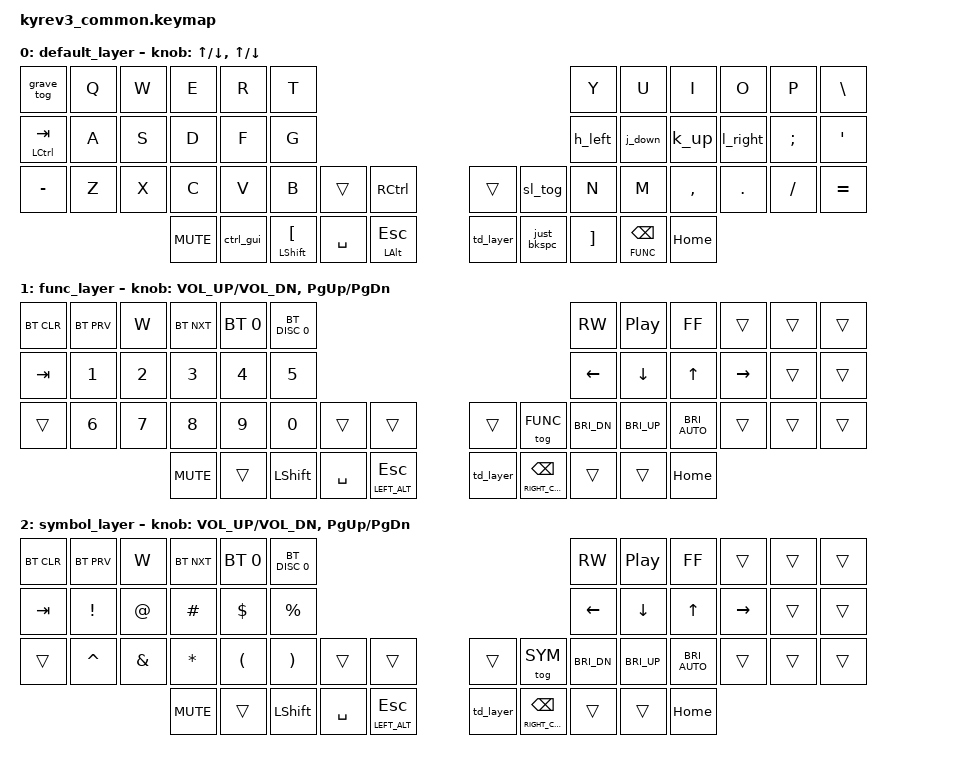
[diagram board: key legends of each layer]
#include <behaviors.dtsi>
#include <dt-bindings/zmk/bt.h>
#include <dt-bindings/zmk/keys.h>

#define DEFAULT 0
#define FUNC  1
#define SYM  2

/ {
    combos {
        compatible = "zmk,combos";
        combo_esc {
            timeout-ms = <50>;
            key-positions = <1 2>;
            bindings = <&kp ESC>;
        };
    };
   behaviors {
        clear_tog: clear_toggle {
            compatible = "zmk,behavior-mod-morph";
            #binding-cells = <0>;
            bindings = <&bt BT_CLR>, <&tog FUNC>;
            mods = <(MOD_LSFT|MOD_RSFT)>;
        };
        just_bkspc: just_bkspc {
            compatible = "zmk,behavior-mod-morph";
            #binding-cells = <0>;
            bindings = <&mt RIGHT_CONTROL BACKSPACE>, <&kp BACKSPACE>;
            mods = <(MOD_LSFT)>;
            };
        grave_tog: grave_toggle {
            compatible = "zmk,behavior-mod-morph";
            #binding-cells = <0>;
            bindings = <&kp GRAVE>, <&tog FUNC>;
            mods = <(MOD_LSFT|MOD_RSFT)>;
            };
        sl_tog: sticky_layer_toggle {
            compatible = "zmk,behavior-mod-morph";
            #binding-cells = <0>;
            bindings = <&sl FUNC>, <&tog FUNC>;
            mods = <(MOD_LSFT|MOD_RSFT)>;
            };
        hspc: holdable_backspace {
            compatible = "zmk,behavior-mod-morph";
            #binding-cells = <0>;
            bindings = <&mt RIGHT_CONTROL BACKSPACE>, <&kp BACKSPACE>;
            mods = <(MOD_LSFT|MOD_RSFT)>;
            };
        h_left: h_left_hold {
            compatible = "zmk,behavior-mod-morph";
            #binding-cells = <0>;
            bindings = <&kp H>, <&kp LEFT>;
            mods = <MOD_LCTL>;
            };
        j_down: j_down_hold {
            compatible = "zmk,behavior-mod-morph";
            #binding-cells = <0>;
            bindings = <&kp J>, <&kp DOWN>;
            mods = <MOD_LCTL>;
            };
        k_up: k_up_hold {
            compatible = "zmk,behavior-mod-morph";
            #binding-cells = <0>;
            bindings = <&kp K>, <&kp UP>;
            mods = <(MOD_LCTL)>;
            };
        l_right: l_right_hold {
            compatible = "zmk,behavior-mod-morph";
            #binding-cells = <0>;
            bindings = <&kp L>, <&kp RIGHT>;
            mods = <(MOD_LCTL)>;
            };
        ctrl_gui: left_ctrl_gui {
            compatible = "zmk,behavior-tap-dance";
            #binding-cells = <0>;
            tapping-term-ms = <200>;
            bindings = <&kp LEFT_CONTROL>, <&kp LGUI>;
        };
        td_to_func: dance_switch_to_func {
            compatible = "zmk,behavior-tap-dance";
            #binding-cells = <0>;
            tapping-term-ms = <200>;
            bindings = <&mt RIGHT_SHIFT RET>, <&tog FUNC>;
        };
        td_to_symbol: dance_switch_to_symbol {
            compatible = "zmk,behavior-tap-dance";
            #binding-cells = <0>;
            tapping-term-ms = <200>;
            bindings = <&mt RIGHT_SHIFT RET>, <&tog SYM>;
        };
        td_layer: dance_morph_layer {
            compatible = "zmk,behavior-mod-morph";
            #binding-cells = <0>;
            bindings = <&td_to_func>, <&td_to_symbol>;
            mods = <(MOD_LSFT|MOD_RSFT|MOD_LALT)>;
        };
    };

    keymap {
        compatible = "zmk,keymap";

        default_layer {
            // ---------------------------------------------------------------------------------------------------------------------------------
            // |  ESC  |  Q  |  W  |  E   |  R   |  T   |                                          |  Y   |  U    |  I    |  O   |   P   |   \  |
            // |  TAB  |  A  |  S  |  D   |  F   |  G   |                                          |  H   |  J    |  K    |  L   |   ;   |   '  |
            // | SHIFT |  Z  |  X  |  C   |  V   |  B   | L SHIFT | L SHIFT |  | LAYER 1 | L SHIFT |  N   |  M    |  ,    |  .   |   /   | CTRL |
            //                     | GUI  | DEL  | RET  |  SPACE  |   ESC   |  |   RET   |  SPACE  | TAB  | BSPC  | R-ALT |

            bindings = <
            &grave_tog  &kp Q  &kp W  &kp E &kp R &kp T                                                                  &kp Y              &kp U     &kp I      &kp O    &kp P     &kp BSLH
            &mt LEFT_CONTROL TAB    &kp A  &kp S  &kp D &kp F &kp G                                                                  &h_left &j_down &k_up &l_right &kp SEMI  &kp SQT
            &kp MINUS  &kp Z  &kp X  &kp C &kp V &kp B  &trans   &kp RIGHT_CONTROL  &trans &sl_tog &kp N             &kp M     &kp COMMA  &kp DOT  &kp FSLH  &kp EQUAL
                       &kp C_MUTE  &ctrl_gui &mt LEFT_SHIFT LEFT_BRACKET &kp SPACE &mt LEFT_ALT ESC    &td_layer  &just_bkspc  &kp RIGHT_BRACKET  &lt FUNC BSPC  &kp HOME
            >;

            sensor-bindings = <&inc_dec_kp UP DOWN &inc_dec_kp UP DOWN>;
        };

        func_layer {
            // ---------------------------------------------------------------------------------------------------------------------------------
            // |       |      |BT_CLR|BTSEL0|BTSEL1|BTSEL2|                                         |      |      |      |      |      |      |
            // |       |      |      |BTSEL3|BTSEL4|      |                                         |      |      |      |      |      |      |
            // |       |      |      |      |      |      |      |      |      |      |      |      |      |      |      |      |      |      |

            //                       |      |      |      |      |      |      |      |      |      |      |      |      |
            bindings = <
               &bt BT_CLR  &bt BT_PRV &kp W   &bt BT_NXT    &bt BT_SEL 0 &bt BT_DISC 0                &kp C_RW    &kp C_PP     &kp C_FF   &trans  &trans  &trans
               &kp TAB &kp NUMBER_1  &kp NUMBER_2  &kp NUMBER_3  &kp NUMBER_4 &kp NUMBER_5                      &kp LEFT    &kp DOWN     &kp UP      &kp RIGHT   &trans  &trans
            &trans  &kp NUMBER_6  &kp NUMBER_7 &kp NUMBER_8   &kp NUMBER_9 &kp NUMBER_0 &trans &trans       &trans  &tog FUNC  &kp C_BRI_DN  &kp C_BRI_UP  &kp C_BRI_AUTO  &trans  &trans  &trans
                       &kp C_MUTE        &trans       &kp LEFT_SHIFT &kp SPACE  &lt LEFT_ALT ESC                   &td_layer  &lt RIGHT_CONTROL BSPC  &trans  &trans  &kp HOME
            >;

            sensor-bindings = <&inc_dec_kp C_VOL_UP C_VOL_DN &inc_dec_kp PG_UP PG_DN>;
        };
        symbol_layer {
            // ---------------------------------------------------------------------------------------------------------------------------------
            // |       |      |BT_CLR|BTSEL0|BTSEL1|BTSEL2|                                         |      |      |      |      |      |      |
            // |       |      |      |BTSEL3|BTSEL4|      |                                         |      |      |      |      |      |      |
            // |       |      |      |      |      |      |      |      |      |      |      |      |      |      |      |      |      |      |

            //                       |      |      |      |      |      |      |      |      |      |      |      |      |
            bindings = <
               &bt BT_CLR  &bt BT_PRV &kp W   &bt BT_NXT    &bt BT_SEL 0 &bt BT_DISC 0                &kp C_RW    &kp C_PP     &kp C_FF   &trans  &trans  &trans
                &kp TAB &kp EXCLAMATION  &kp AT_SIGN  &kp HASH &kp DOLLAR &kp PERCENT                      &kp LEFT    &kp DOWN     &kp UP      &kp RIGHT   &trans  &trans
               &trans  &kp CARET &kp AMPERSAND &kp STAR &kp LEFT_PARENTHESIS &kp RIGHT_PARENTHESIS &trans &trans       &trans  &tog SYM  &kp C_BRI_DN  &kp C_BRI_UP  &kp C_BRI_AUTO  &trans  &trans  &trans
                       &kp C_MUTE        &trans       &kp LEFT_SHIFT &kp SPACE  &lt LEFT_ALT ESC                   &td_layer  &lt RIGHT_CONTROL BSPC  &trans  &trans  &kp HOME
            >;

            sensor-bindings = <&inc_dec_kp C_VOL_UP C_VOL_DN &inc_dec_kp PG_UP PG_DN>;
        };

    };
};
